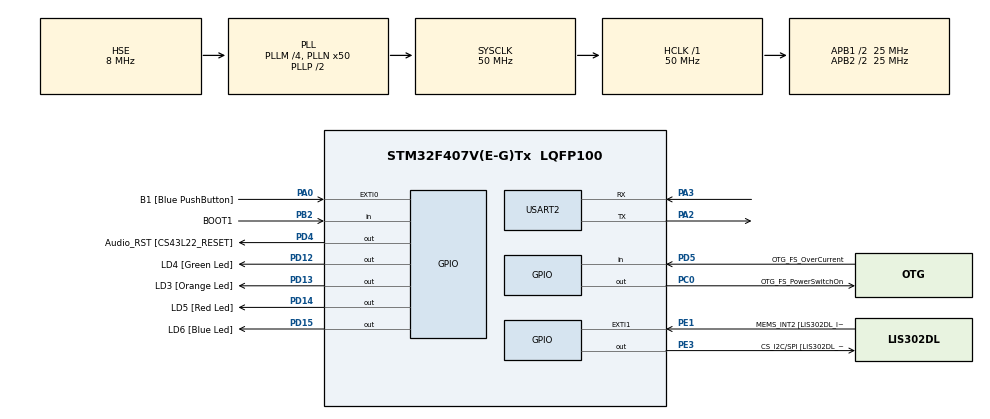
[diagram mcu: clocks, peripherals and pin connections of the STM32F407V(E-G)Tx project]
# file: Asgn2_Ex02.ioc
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Mcu.Family=STM32F4
Mcu.Name=STM32F407V(E-G)Tx
Mcu.Package=LQFP100
NVIC.EXTI0_IRQn=true\:0\:0\:false\:false\:true\:true\:true\:true
NVIC.PriorityGroup=NVIC_PRIORITYGROUP_0
PA0-WKUP.GPIO_Label=B1 [Blue PushButton]
PA0-WKUP.GPIO_ModeDefaultEXTI=GPIO_MODE_IT_RISING
PA0-WKUP.GPIO_PuPd=GPIO_NOPULL
PA0-WKUP.Signal=GPXTI0
PA10.GPIO_Label=OTG_FS_ID
PA10.GPIO_Mode=GPIO_MODE_AF_PP
PA10.GPIO_PuPd=GPIO_NOPULL
PA10.GPIO_Speed=GPIO_SPEED_FREQ_LOW
PA10.Signal=USB_OTG_FS_ID
PA11.GPIO_Label=OTG_FS_DM
PA11.GPIO_Mode=GPIO_MODE_AF_PP
PA11.GPIO_PuPd=GPIO_NOPULL
PA11.GPIO_Speed=GPIO_SPEED_FREQ_LOW
PA11.Signal=USB_OTG_FS_DM
PA12.GPIO_Label=OTG_FS_DP
PA12.GPIO_Mode=GPIO_MODE_AF_PP
PA12.GPIO_PuPd=GPIO_NOPULL
PA12.GPIO_Speed=GPIO_SPEED_FREQ_LOW
PA12.Signal=USB_OTG_FS_DP
PA13.GPIO_Label=SWDIO
PA13.Mode=Serial_Wire
PA13.Signal=SYS_JTMS-SWDIO
PA14.GPIO_Label=SWCLK
PA14.Mode=Serial_Wire
PA14.Signal=SYS_JTCK-SWCLK
PA2.Mode=Asynchronous
PA2.Signal=USART2_TX
PA3.Mode=Asynchronous
PA3.Signal=USART2_RX
PA4.GPIO_Label=I2S3_WS [CS43L22_LRCK]
PA4.GPIO_Mode=GPIO_MODE_AF_PP
PA4.GPIO_PuPd=GPIO_NOPULL
PA4.GPIO_Speed=GPIO_SPEED_FREQ_LOW
PA4.Signal=I2S3_WS
PA5.GPIO_Mode=GPIO_MODE_AF_PP
PA5.GPIO_PuPd=GPIO_NOPULL
PA5.GPIO_Speed=GPIO_SPEED_FREQ_VERY_HIGH
PA5.Signal=SPI1_SCK
PA6.GPIO_Mode=GPIO_MODE_AF_PP
PA6.GPIO_PuPd=GPIO_NOPULL
PA6.GPIO_Speed=GPIO_SPEED_FREQ_VERY_HIGH
PA6.Signal=SPI1_MISO
PA7.GPIO_Mode=GPIO_MODE_AF_PP
PA7.GPIO_PuPd=GPIO_NOPULL
PA7.GPIO_Speed=GPIO_SPEED_FREQ_VERY_HIGH
PA7.Signal=SPI1_MOSI
PA9.GPIO_Label=VBUS_FS
PA9.GPIO_Mode=GPIO_MODE_INPUT
PA9.GPIO_PuPd=GPIO_NOPULL
PA9.Signal=USB_OTG_FS_VBUS
PB10.GPIO_Label=CLK_IN [MP45DT02_CLK]
PB10.GPIO_Mode=GPIO_MODE_AF_PP
PB10.GPIO_PuPd=GPIO_NOPULL
PB10.GPIO_Speed=GPIO_SPEED_FREQ_LOW
PB10.Signal=I2S2_CK
PB2.GPIO_Label=BOOT1
PB2.GPIO_Mode=GPIO_MODE_INPUT
PB2.GPIO_PuPd=GPIO_NOPULL
PB2.Signal=GPIO_Input
PB3.GPIO_Label=SWO
PB3.Signal=SYS_JTDO-SWO
PB6.GPIO_Label=Audio_SCL [CS43L22_SCL]
PB6.GPIO_Mode=GPIO_MODE_AF_OD
PB6.GPIO_Pu=GPIO_PULLUP
PB6.GPIO_PuPd=GPIO_NOPULL
PB6.GPIO_Speed=GPIO_SPEED_FREQ_LOW
PB6.Signal=I2C1_SCL
PB9.GPIO_Label=Audio_SDA [CS43L22_SDA]
PB9.GPIO_Mode=GPIO_MODE_AF_OD
PB9.GPIO_Pu=GPIO_PULLUP
PB9.GPIO_PuPd=GPIO_NOPULL
PB9.GPIO_Speed=GPIO_SPEED_FREQ_LOW
PB9.Signal=I2C1_SDA
PC0.GPIO_Label=OTG_FS_PowerSwitchOn
PC0.GPIO_PuPd=GPIO_NOPULL
PC0.GPIO_Speed=GPIO_SPEED_FREQ_LOW
PC0.PinState=GPIO_PIN_SET
PC0.Signal=GPIO_Output
PC10.GPIO_Label=I2S3_SCK [CS43L22_SCLK]
PC10.GPIO_Mode=GPIO_MODE_AF_PP
PC10.GPIO_PuPd=GPIO_NOPULL
PC10.GPIO_Speed=GPIO_SPEED_FREQ_LOW
PC10.Signal=I2S3_CK
PC12.GPIO_Label=I2S3_SD [CS43L22_SDIN]
PC12.GPIO_Mode=GPIO_MODE_AF_PP
PC12.GPIO_PuPd=GPIO_NOPULL
PC12.GPIO_Speed=GPIO_SPEED_FREQ_LOW
PC12.Signal=I2S3_SD
PC14-OSC32_IN.GPIO_Label=PC14-OSC32_IN
PC14-OSC32_IN.Mode=LSE-External-Oscillator
PC14-OSC32_IN.Signal=RCC_OSC32_IN
PC15-OSC32_OUT.GPIO_Label=PC15-OSC32_OUT
PC15-OSC32_OUT.Mode=LSE-External-Oscillator
PC15-OSC32_OUT.Signal=RCC_OSC32_OUT
PC3.GPIO_Label=PDM_OUT [MP45DT02_DOUT]
PC3.GPIO_Mode=GPIO_MODE_AF_PP
PC3.GPIO_PuPd=GPIO_NOPULL
PC3.GPIO_Speed=GPIO_SPEED_FREQ_LOW
PC3.Signal=I2S2_SD
PC7.GPIO_Label=I2S3_MCK [CS43L22_MCLK]
PC7.GPIO_Mode=GPIO_MODE_AF_PP
PC7.GPIO_PuPd=GPIO_NOPULL
PC7.GPIO_Speed=GPIO_SPEED_FREQ_LOW
PC7.Signal=I2S3_MCK
PD12.GPIO_Label=LD4 [Green Led]
PD12.GPIO_PuPd=GPIO_NOPULL
PD12.GPIO_Speed=GPIO_SPEED_FREQ_LOW
PD12.Signal=GPIO_Output
PD13.GPIO_Label=LD3 [Orange Led]
PD13.GPIO_PuPd=GPIO_NOPULL
PD13.GPIO_Speed=GPIO_SPEED_FREQ_LOW
PD13.Signal=GPIO_Output
PD14.GPIO_Label=LD5 [Red Led]
PD14.GPIO_PuPd=GPIO_NOPULL
PD14.GPIO_Speed=GPIO_SPEED_FREQ_LOW
PD14.Signal=GPIO_Output
PD15.GPIO_Label=LD6 [Blue Led]
PD15.GPIO_PuPd=GPIO_NOPULL
PD15.GPIO_Speed=GPIO_SPEED_FREQ_LOW
PD15.Signal=GPIO_Output
PD4.GPIO_Label=Audio_RST [CS43L22_RESET]
PD4.GPIO_PuPd=GPIO_NOPULL
PD4.GPIO_Speed=GPIO_SPEED_FREQ_LOW
PD4.Signal=GPIO_Output
PD5.GPIO_Label=OTG_FS_OverCurrent
PD5.GPIO_Mode=GPIO_MODE_INPUT
PD5.GPIO_PuPd=GPIO_NOPULL
PD5.Signal=GPIO_Input
PE1.GPIO_Label=MEMS_INT2 [LIS302DL_INT2]
PE1.GPIO_ModeDefaultEXTI=GPIO_MODE_EVT_RISING
PE1.GPIO_PuPd=GPIO_NOPULL
PE1.Signal=GPXTI1
PE3.GPIO_Label=CS_I2C/SPI [LIS302DL_CS_I2C/SPI]
PE3.GPIO_PuPd=GPIO_NOPULL
PE3.GPIO_Speed=GPIO_SPEED_FREQ_LOW
PE3.Signal=GPIO_Output
PH0-OSC_IN.GPIO_Label=PH0-OSC_IN
PH0-OSC_IN.Mode=HSE-External-Oscillator
PH0-OSC_IN.Signal=RCC_OSC_IN
PH1-OSC_OUT.GPIO_Label=PH1-OSC_OUT
PH1-OSC_OUT.Mode=HSE-External-Oscillator
PH1-OSC_OUT.Signal=RCC_OSC_OUT
ProjectManager.HeapSize=0x200
ProjectManager.StackSize=0x400
ProjectManager.TargetToolchain=STM32CubeIDE
RCC.48MHZClocksFreq_Value=14285714.285714285
RCC.AHBFreq_Value=50000000
RCC.APB1CLKDivider=RCC_HCLK_DIV2
RCC.APB1Freq_Value=25000000
RCC.APB1TimFreq_Value=50000000
RCC.APB2CLKDivider=RCC_HCLK_DIV2
RCC.APB2Freq_Value=25000000
RCC.APB2TimFreq_Value=50000000
RCC.CortexFreq_Value=50000000
RCC.HCLKFreq_Value=50000000
RCC.HSE_VALUE=8000000
RCC.HSI_VALUE=16000000
RCC.PLLM=4
RCC.PLLN=50
RCC.PLLQ=7
RCC.PLLSourceVirtual=RCC_PLLSOURCE_HSE
RCC.SYSCLKFreq_VALUE=50000000
RCC.SYSCLKSource=RCC_SYSCLKSOURCE_PLLCLK
RCC.VCOOutputFreq_Value=100000000
TIM2.Period=12500
TIM2.Prescaler=999
TIM3.Period=5000
TIM3.Prescaler=999
TIM4.Period=20000
TIM4.Prescaler=999
TIM5.Period=3750
TIM5.Prescaler=1999
USART2.VirtualMode=VM_ASYNC
VP_TIM2_VS_ClockSourceINT.Mode=Internal
VP_TIM3_VS_ClockSourceINT.Mode=Internal
VP_TIM4_VS_ClockSourceINT.Mode=Internal
VP_TIM5_VS_ClockSourceINT.Mode=Internal
board=STM32F407G-DISC1

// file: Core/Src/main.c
/* USER CODE BEGIN Header */
/**
  ******************************************************************************
  * @file           : main.c
  * @brief          : Main program body
  ******************************************************************************
  * @attention
  *
  * Copyright (c) 2024 STMicroelectronics.
  * All rights reserved.
  *
  * This software is licensed under terms that can be found in the LICENSE file
  * in the root directory of this software component.
  * If no LICENSE file comes with this software, it is provided AS-IS.
  *
  ******************************************************************************
  */
/* USER CODE END Header */
#include "main.h"

/* USER CODE BEGIN PD */
#define PIN_RED LD5_Pin
#define PIN_GREEN LD4_Pin
#define PIN_ORANGE LD3_Pin
#define PIN_BLUE LD6_Pin

#define IDX_RED 0
#define IDX_GREEN 1
#define IDX_ORANGE 2
#define IDX_BLUE 3
/* USER CODE END PD */

TIM_HandleTypeDef htim2;
TIM_HandleTypeDef htim3;
TIM_HandleTypeDef htim4;
TIM_HandleTypeDef htim5;

UART_HandleTypeDef huart2;

/* USER CODE BEGIN PV */
int check_counter = 0;
int check_counter_limit = 1000;
int led_on[4];
/* USER CODE END PV */

void SystemClock_Config(void);
static void MX_GPIO_Init(void);
static void MX_USART2_UART_Init(void);
static void MX_TIM2_Init(void);
static void MX_TIM3_Init(void);
static void MX_TIM4_Init(void);
static void MX_TIM5_Init(void);

/* USER CODE BEGIN 0 */
/* sets pin */
void led_set(int color, int on) {
	if (on) {
		HAL_GPIO_WritePin(LD4_GPIO_Port, color, GPIO_PIN_SET);
	}
	else {
		HAL_GPIO_WritePin(LD4_GPIO_Port, color, GPIO_PIN_RESET);
	}
}

int __io_putchar(int ch) {
	uint8_t d = (uint8_t)ch;
	return HAL_UART_Transmit(&huart2, &d, 1, 500);
}

int _write(int file, char *ptr, int len)
{
  (void)file;
  int DataIdx;

  for (DataIdx = 0; DataIdx < len; DataIdx++)
  {
    __io_putchar(*ptr++);
  }
  return len;
}

void HAL_UART_TxCpltCallback (UART_HandleTypeDef * huart) {
//	if (++repeat == 2) {
//		HAL_UART_Receive_IT(huart, &rcvd_byte, 1);
//		repeat = 0;
//	}
//	else {
//		HAL_UART_Transmit_IT(huart, &rcvd_byte, 1);
//	}
	HAL_GPIO_WritePin(LD3_GPIO_Port, LD6_Pin, GPIO_PIN_SET);
}

void HAL_UART_RxCpltCallback (UART_HandleTypeDef * huart) {
//	HAL_GPIO_WritePin(LD3_GPIO_Port, LD6_Pin, GPIO_PIN_SET);
//	HAL_UART_Transmit_IT(huart, &rcvd_byte, 1);
}

void tim2_red_led_check(void) {
//	printf("RT2 t:%d h:%d\r\n", __HAL_TIM_GetCounter(&htim2), HAL_GetTick());
	if (led_on[IDX_RED]) {
		led_set(PIN_RED, 0);
		led_on[IDX_RED] = 0;
	}
	else {
		led_set(PIN_RED, 1);
		led_on[IDX_RED] = 1;
	}
}

void tim3_green_led_check(void) {
//	printf("GT3 t:%d h:%d\r\n", __HAL_TIM_GetCounter(&htim3), HAL_GetTick());
	if (led_on[IDX_GREEN]) {
		led_set(PIN_GREEN, 0);
		led_on[IDX_GREEN] = 0;
	}
	else {
		led_set(PIN_GREEN, 1);
		led_on[IDX_GREEN] = 1;
	}
}

void tim4_blue_led_check(void) {
//	printf("BT4 t:%d h:%d\r\n", __HAL_TIM_GetCounter(&htim4), HAL_GetTick());
	if (led_on[IDX_BLUE]) {
		led_set(PIN_BLUE, 0);
		led_on[IDX_BLUE] = 0;
	}
	else {
		led_set(PIN_BLUE, 1);
		led_on[IDX_BLUE] = 1;
	}
}

void tim5_orange_led_check(void) {
//	printf("OT5 t:%d h:%d\r\n", __HAL_TIM_GetCounter(&htim5), HAL_GetTick());
	if (led_on[IDX_ORANGE]) {
		led_set(PIN_ORANGE, 0);
		led_on[IDX_ORANGE] = 0;
	}
	else {
		led_set(PIN_ORANGE, 1);
		led_on[IDX_ORANGE] = 1;
	}
}

void led_check2(void) {
	if (check_counter == 0) {
		HAL_GPIO_WritePin(LD3_GPIO_Port, LD5_Pin, GPIO_PIN_SET);
	}
	else if (check_counter == 1000) {
		HAL_GPIO_WritePin(LD3_GPIO_Port, LD6_Pin, GPIO_PIN_SET);
	}
	else if (check_counter == 2000) {
		HAL_GPIO_WritePin(LD3_GPIO_Port, LD3_Pin, GPIO_PIN_SET);
	}
	else if (check_counter == 3000) {
		HAL_GPIO_WritePin(LD3_GPIO_Port, LD4_Pin, GPIO_PIN_SET);
	}
	check_counter++;
}

void TIM2_IRQHandler(void) {
	tim2_red_led_check();
	__HAL_TIM_CLEAR_FLAG(&htim2, TIM_FLAG_UPDATE);
}

void TIM3_IRQHandler(void) {
	tim3_green_led_check();
	__HAL_TIM_CLEAR_FLAG(&htim3, TIM_FLAG_UPDATE);
}

void TIM4_IRQHandler(void) {
	tim4_blue_led_check();
	__HAL_TIM_CLEAR_FLAG(&htim4, TIM_FLAG_UPDATE);
}

void TIM5_IRQHandler(void) {
	tim5_orange_led_check();
	__HAL_TIM_CLEAR_FLAG(&htim5, TIM_FLAG_UPDATE);
}
/* USER CODE END 0 */

int main(void)
{

  /* USER CODE BEGIN 1 */
  __HAL_RCC_TIM2_CLK_ENABLE();
  __HAL_RCC_TIM3_CLK_ENABLE();
  __HAL_RCC_TIM4_CLK_ENABLE();
  __HAL_RCC_TIM5_CLK_ENABLE();
  /* USER CODE END 1 */

  /* MCU Configuration--------------------------------------------------------*/

  /* Reset of all peripherals, Initializes the Flash interface and the Systick. */
  HAL_Init();

  /* USER CODE BEGIN Init */
  HAL_TIM_Base_Init(&htim2);
  HAL_TIM_Base_Init(&htim3);
  HAL_TIM_Base_Init(&htim4);
  HAL_TIM_Base_Init(&htim5);
  /* USER CODE END Init */

  /* Configure the system clock */
  SystemClock_Config();

  /* Initialize all configured peripherals */
  MX_GPIO_Init();
  MX_USART2_UART_Init();
  MX_TIM2_Init();
  MX_TIM3_Init();
  MX_TIM4_Init();
  MX_TIM5_Init();
  /* USER CODE BEGIN 2 */
  //red
  __HAL_TIM_ENABLE_IT(&htim2, TIM_IT_UPDATE);
  HAL_NVIC_EnableIRQ(TIM2_IRQn);
  HAL_NVIC_SetPriority(TIM2_IRQn, 14, 14);
  HAL_TIM_Base_Start(&htim2);
  //green
  __HAL_TIM_ENABLE_IT(&htim3, TIM_IT_UPDATE);
  HAL_NVIC_EnableIRQ(TIM3_IRQn);
  HAL_NVIC_SetPriority(TIM3_IRQn, 12, 12);
  HAL_TIM_Base_Start(&htim3);
  //blue
  __HAL_TIM_ENABLE_IT(&htim4, TIM_IT_UPDATE);
  HAL_NVIC_EnableIRQ(TIM4_IRQn);
  HAL_NVIC_SetPriority(TIM4_IRQn, 15, 15);
  HAL_TIM_Base_Start(&htim4);
  //orange
  __HAL_TIM_ENABLE_IT(&htim5, TIM_IT_UPDATE);
  HAL_NVIC_EnableIRQ(TIM5_IRQn);
  HAL_NVIC_SetPriority(TIM5_IRQn, 13, 13);
  HAL_TIM_Base_Start(&htim5);
  /* USER CODE END 2 */

  /* Infinite loop */
  /* USER CODE BEGIN WHILE */
//  printf("ccc\r\n");
  HAL_Delay(250);
  led_on[IDX_RED] = 0;
  led_on[IDX_GREEN] = 0;
  led_on[IDX_BLUE] = 0;
  led_on[IDX_ORANGE] = 0;
  while (1)
  {
    /* USER CODE END WHILE */

    /* USER CODE BEGIN 3 */
//	  printf("MAIN %d %d\r\n", __HAL_TIM_GetCounter(&htim2), HAL_GetTick());
	  HAL_Delay(500);
  }
  /* USER CODE END 3 */
}

void SystemClock_Config(void)
{
  RCC_OscInitTypeDef RCC_OscInitStruct = {0};
  RCC_ClkInitTypeDef RCC_ClkInitStruct = {0};

  /** Configure the main internal regulator output voltage
  */
  __HAL_RCC_PWR_CLK_ENABLE();
  __HAL_PWR_VOLTAGESCALING_CONFIG(PWR_REGULATOR_VOLTAGE_SCALE1);

  /** Initializes the RCC Oscillators according to the specified parameters
  * in the RCC_OscInitTypeDef structure.
  */
  RCC_OscInitStruct.OscillatorType = RCC_OSCILLATORTYPE_HSE;
  RCC_OscInitStruct.HSEState = RCC_HSE_ON;
  RCC_OscInitStruct.PLL.PLLState = RCC_PLL_ON;
  RCC_OscInitStruct.PLL.PLLSource = RCC_PLLSOURCE_HSE;
  RCC_OscInitStruct.PLL.PLLM = 4;
  RCC_OscInitStruct.PLL.PLLN = 50;
  RCC_OscInitStruct.PLL.PLLP = RCC_PLLP_DIV2;
  RCC_OscInitStruct.PLL.PLLQ = 7;
  if (HAL_RCC_OscConfig(&RCC_OscInitStruct) != HAL_OK)
  {
    Error_Handler();
  }

  /** Initializes the CPU, AHB and APB buses clocks
  */
  RCC_ClkInitStruct.ClockType = RCC_CLOCKTYPE_HCLK|RCC_CLOCKTYPE_SYSCLK
                              |RCC_CLOCKTYPE_PCLK1|RCC_CLOCKTYPE_PCLK2;
  RCC_ClkInitStruct.SYSCLKSource = RCC_SYSCLKSOURCE_PLLCLK;
  RCC_ClkInitStruct.AHBCLKDivider = RCC_SYSCLK_DIV1;
  RCC_ClkInitStruct.APB1CLKDivider = RCC_HCLK_DIV2;
  RCC_ClkInitStruct.APB2CLKDivider = RCC_HCLK_DIV2;

  if (HAL_RCC_ClockConfig(&RCC_ClkInitStruct, FLASH_LATENCY_1) != HAL_OK)
  {
    Error_Handler();
  }
}

static void MX_TIM2_Init(void)
{

  TIM_ClockConfigTypeDef sClockSourceConfig = {0};
  TIM_MasterConfigTypeDef sMasterConfig = {0};

  htim2.Instance = TIM2;
  htim2.Init.Prescaler = 999;
  htim2.Init.CounterMode = TIM_COUNTERMODE_UP;
  htim2.Init.Period = 12500;
  htim2.Init.ClockDivision = TIM_CLOCKDIVISION_DIV1;
  htim2.Init.AutoReloadPreload = TIM_AUTORELOAD_PRELOAD_DISABLE;
  if (HAL_TIM_Base_Init(&htim2) != HAL_OK)
  {
    Error_Handler();
  }
  sClockSourceConfig.ClockSource = TIM_CLOCKSOURCE_INTERNAL;
  if (HAL_TIM_ConfigClockSource(&htim2, &sClockSourceConfig) != HAL_OK)
  {
    Error_Handler();
  }
  sMasterConfig.MasterOutputTrigger = TIM_TRGO_RESET;
  sMasterConfig.MasterSlaveMode = TIM_MASTERSLAVEMODE_DISABLE;
  if (HAL_TIMEx_MasterConfigSynchronization(&htim2, &sMasterConfig) != HAL_OK)
  {
    Error_Handler();
  }

}

static void MX_TIM3_Init(void)
{

  TIM_ClockConfigTypeDef sClockSourceConfig = {0};
  TIM_MasterConfigTypeDef sMasterConfig = {0};

  htim3.Instance = TIM3;
  htim3.Init.Prescaler = 999;
  htim3.Init.CounterMode = TIM_COUNTERMODE_UP;
  htim3.Init.Period = 5000;
  htim3.Init.ClockDivision = TIM_CLOCKDIVISION_DIV1;
  htim3.Init.AutoReloadPreload = TIM_AUTORELOAD_PRELOAD_DISABLE;
  if (HAL_TIM_Base_Init(&htim3) != HAL_OK)
  {
    Error_Handler();
  }
  sClockSourceConfig.ClockSource = TIM_CLOCKSOURCE_INTERNAL;
  if (HAL_TIM_ConfigClockSource(&htim3, &sClockSourceConfig) != HAL_OK)
  {
    Error_Handler();
  }
  sMasterConfig.MasterOutputTrigger = TIM_TRGO_RESET;
  sMasterConfig.MasterSlaveMode = TIM_MASTERSLAVEMODE_DISABLE;
  if (HAL_TIMEx_MasterConfigSynchronization(&htim3, &sMasterConfig) != HAL_OK)
  {
    Error_Handler();
  }

}

static void MX_TIM4_Init(void)
{

  TIM_ClockConfigTypeDef sClockSourceConfig = {0};
  TIM_MasterConfigTypeDef sMasterConfig = {0};

  htim4.Instance = TIM4;
  htim4.Init.Prescaler = 999;
  htim4.Init.CounterMode = TIM_COUNTERMODE_UP;
  htim4.Init.Period = 20000;
  htim4.Init.ClockDivision = TIM_CLOCKDIVISION_DIV1;
  htim4.Init.AutoReloadPreload = TIM_AUTORELOAD_PRELOAD_DISABLE;
  if (HAL_TIM_Base_Init(&htim4) != HAL_OK)
  {
    Error_Handler();
  }
  sClockSourceConfig.ClockSource = TIM_CLOCKSOURCE_INTERNAL;
  if (HAL_TIM_ConfigClockSource(&htim4, &sClockSourceConfig) != HAL_OK)
  {
    Error_Handler();
  }
  sMasterConfig.MasterOutputTrigger = TIM_TRGO_RESET;
  sMasterConfig.MasterSlaveMode = TIM_MASTERSLAVEMODE_DISABLE;
  if (HAL_TIMEx_MasterConfigSynchronization(&htim4, &sMasterConfig) != HAL_OK)
  {
    Error_Handler();
  }

}

static void MX_TIM5_Init(void)
{

  TIM_ClockConfigTypeDef sClockSourceConfig = {0};
  TIM_MasterConfigTypeDef sMasterConfig = {0};

  htim5.Instance = TIM5;
  htim5.Init.Prescaler = 1999;
  htim5.Init.CounterMode = TIM_COUNTERMODE_UP;
  htim5.Init.Period = 3750;
  htim5.Init.ClockDivision = TIM_CLOCKDIVISION_DIV1;
  htim5.Init.AutoReloadPreload = TIM_AUTORELOAD_PRELOAD_DISABLE;
  if (HAL_TIM_Base_Init(&htim5) != HAL_OK)
  {
    Error_Handler();
  }
  sClockSourceConfig.ClockSource = TIM_CLOCKSOURCE_INTERNAL;
  if (HAL_TIM_ConfigClockSource(&htim5, &sClockSourceConfig) != HAL_OK)
  {
    Error_Handler();
  }
  sMasterConfig.MasterOutputTrigger = TIM_TRGO_RESET;
  sMasterConfig.MasterSlaveMode = TIM_MASTERSLAVEMODE_DISABLE;
  if (HAL_TIMEx_MasterConfigSynchronization(&htim5, &sMasterConfig) != HAL_OK)
  {
    Error_Handler();
  }

}

static void MX_USART2_UART_Init(void)
{

  huart2.Instance = USART2;
  huart2.Init.BaudRate = 115200;
  huart2.Init.WordLength = UART_WORDLENGTH_8B;
  huart2.Init.StopBits = UART_STOPBITS_1;
  huart2.Init.Parity = UART_PARITY_NONE;
  huart2.Init.Mode = UART_MODE_TX_RX;
  huart2.Init.HwFlowCtl = UART_HWCONTROL_NONE;
  huart2.Init.OverSampling = UART_OVERSAMPLING_16;
  if (HAL_UART_Init(&huart2) != HAL_OK)
  {
    Error_Handler();
  }

}

static void MX_GPIO_Init(void)
{
  GPIO_InitTypeDef GPIO_InitStruct = {0};

  /* GPIO Ports Clock Enable */
  __HAL_RCC_GPIOE_CLK_ENABLE();
  __HAL_RCC_GPIOC_CLK_ENABLE();
  __HAL_RCC_GPIOH_CLK_ENABLE();
  __HAL_RCC_GPIOA_CLK_ENABLE();
  __HAL_RCC_GPIOB_CLK_ENABLE();
  __HAL_RCC_GPIOD_CLK_ENABLE();

  /*Configure GPIO pin Output Level */
  HAL_GPIO_WritePin(CS_I2C_SPI_GPIO_Port, CS_I2C_SPI_Pin, GPIO_PIN_RESET);

  /*Configure GPIO pin Output Level */
  HAL_GPIO_WritePin(OTG_FS_PowerSwitchOn_GPIO_Port, OTG_FS_PowerSwitchOn_Pin, GPIO_PIN_SET);

  /*Configure GPIO pin Output Level */
  HAL_GPIO_WritePin(GPIOD, LD4_Pin|LD3_Pin|LD5_Pin|LD6_Pin
                          |Audio_RST_Pin, GPIO_PIN_RESET);

  /*Configure GPIO pin : CS_I2C_SPI_Pin */
  GPIO_InitStruct.Pin = CS_I2C_SPI_Pin;
  GPIO_InitStruct.Mode = GPIO_MODE_OUTPUT_PP;
  GPIO_InitStruct.Pull = GPIO_NOPULL;
  GPIO_InitStruct.Speed = GPIO_SPEED_FREQ_LOW;
  HAL_GPIO_Init(CS_I2C_SPI_GPIO_Port, &GPIO_InitStruct);

  /*Configure GPIO pin : OTG_FS_PowerSwitchOn_Pin */
  GPIO_InitStruct.Pin = OTG_FS_PowerSwitchOn_Pin;
  GPIO_InitStruct.Mode = GPIO_MODE_OUTPUT_PP;
  GPIO_InitStruct.Pull = GPIO_NOPULL;
  GPIO_InitStruct.Speed = GPIO_SPEED_FREQ_LOW;
  HAL_GPIO_Init(OTG_FS_PowerSwitchOn_GPIO_Port, &GPIO_InitStruct);

  /*Configure GPIO pin : PDM_OUT_Pin */
  GPIO_InitStruct.Pin = PDM_OUT_Pin;
  GPIO_InitStruct.Mode = GPIO_MODE_AF_PP;
  GPIO_InitStruct.Pull = GPIO_NOPULL;
  GPIO_InitStruct.Speed = GPIO_SPEED_FREQ_LOW;
  GPIO_InitStruct.Alternate = GPIO_AF5_SPI2;
  HAL_GPIO_Init(PDM_OUT_GPIO_Port, &GPIO_InitStruct);

  /*Configure GPIO pin : B1_Pin */
  GPIO_InitStruct.Pin = B1_Pin;
  GPIO_InitStruct.Mode = GPIO_MODE_IT_RISING;
  GPIO_InitStruct.Pull = GPIO_NOPULL;
  HAL_GPIO_Init(B1_GPIO_Port, &GPIO_InitStruct);

  /*Configure GPIO pin : I2S3_WS_Pin */
  GPIO_InitStruct.Pin = I2S3_WS_Pin;
  GPIO_InitStruct.Mode = GPIO_MODE_AF_PP;
  GPIO_InitStruct.Pull = GPIO_NOPULL;
  GPIO_InitStruct.Speed = GPIO_SPEED_FREQ_LOW;
  GPIO_InitStruct.Alternate = GPIO_AF6_SPI3;
  HAL_GPIO_Init(I2S3_WS_GPIO_Port, &GPIO_InitStruct);

  /*Configure GPIO pins : PA5 PA6 PA7 */
  GPIO_InitStruct.Pin = GPIO_PIN_5|GPIO_PIN_6|GPIO_PIN_7;
  GPIO_InitStruct.Mode = GPIO_MODE_AF_PP;
  GPIO_InitStruct.Pull = GPIO_NOPULL;
  GPIO_InitStruct.Speed = GPIO_SPEED_FREQ_VERY_HIGH;
  GPIO_InitStruct.Alternate = GPIO_AF5_SPI1;
  HAL_GPIO_Init(GPIOA, &GPIO_InitStruct);

  /*Configure GPIO pin : BOOT1_Pin */
  GPIO_InitStruct.Pin = BOOT1_Pin;
  GPIO_InitStruct.Mode = GPIO_MODE_INPUT;
  GPIO_InitStruct.Pull = GPIO_NOPULL;
  HAL_GPIO_Init(BOOT1_GPIO_Port, &GPIO_InitStruct);

  /*Configure GPIO pin : CLK_IN_Pin */
  GPIO_InitStruct.Pin = CLK_IN_Pin;
  GPIO_InitStruct.Mode = GPIO_MODE_AF_PP;
  GPIO_InitStruct.Pull = GPIO_NOPULL;
  GPIO_InitStruct.Speed = GPIO_SPEED_FREQ_LOW;
  GPIO_InitStruct.Alternate = GPIO_AF5_SPI2;
  HAL_GPIO_Init(CLK_IN_GPIO_Port, &GPIO_InitStruct);

  /*Configure GPIO pins : LD4_Pin LD3_Pin LD5_Pin LD6_Pin
                           Audio_RST_Pin */
  GPIO_InitStruct.Pin = LD4_Pin|LD3_Pin|LD5_Pin|LD6_Pin
                          |Audio_RST_Pin;
  GPIO_InitStruct.Mode = GPIO_MODE_OUTPUT_PP;
  GPIO_InitStruct.Pull = GPIO_NOPULL;
  GPIO_InitStruct.Speed = GPIO_SPEED_FREQ_LOW;
  HAL_GPIO_Init(GPIOD, &GPIO_InitStruct);

  /*Configure GPIO pins : I2S3_MCK_Pin I2S3_SCK_Pin I2S3_SD_Pin */
  GPIO_InitStruct.Pin = I2S3_MCK_Pin|I2S3_SCK_Pin|I2S3_SD_Pin;
  GPIO_InitStruct.Mode = GPIO_MODE_AF_PP;
  GPIO_InitStruct.Pull = GPIO_NOPULL;
  GPIO_InitStruct.Speed = GPIO_SPEED_FREQ_LOW;
  GPIO_InitStruct.Alternate = GPIO_AF6_SPI3;
  HAL_GPIO_Init(GPIOC, &GPIO_InitStruct);

  /*Configure GPIO pin : VBUS_FS_Pin */
  GPIO_InitStruct.Pin = VBUS_FS_Pin;
  GPIO_InitStruct.Mode = GPIO_MODE_INPUT;
  GPIO_InitStruct.Pull = GPIO_NOPULL;
  HAL_GPIO_Init(VBUS_FS_GPIO_Port, &GPIO_InitStruct);

  /*Configure GPIO pins : OTG_FS_ID_Pin OTG_FS_DM_Pin OTG_FS_DP_Pin */
  GPIO_InitStruct.Pin = OTG_FS_ID_Pin|OTG_FS_DM_Pin|OTG_FS_DP_Pin;
  GPIO_InitStruct.Mode = GPIO_MODE_AF_PP;
  GPIO_InitStruct.Pull = GPIO_NOPULL;
  GPIO_InitStruct.Speed = GPIO_SPEED_FREQ_LOW;
  GPIO_InitStruct.Alternate = GPIO_AF10_OTG_FS;
  HAL_GPIO_Init(GPIOA, &GPIO_InitStruct);

  /*Configure GPIO pin : OTG_FS_OverCurrent_Pin */
  GPIO_InitStruct.Pin = OTG_FS_OverCurrent_Pin;
  GPIO_InitStruct.Mode = GPIO_MODE_INPUT;
  GPIO_InitStruct.Pull = GPIO_NOPULL;
  HAL_GPIO_Init(OTG_FS_OverCurrent_GPIO_Port, &GPIO_InitStruct);

  /*Configure GPIO pins : Audio_SCL_Pin Audio_SDA_Pin */
  GPIO_InitStruct.Pin = Audio_SCL_Pin|Audio_SDA_Pin;
  GPIO_InitStruct.Mode = GPIO_MODE_AF_OD;
  GPIO_InitStruct.Pull = GPIO_PULLUP;
  GPIO_InitStruct.Speed = GPIO_SPEED_FREQ_LOW;
  GPIO_InitStruct.Alternate = GPIO_AF4_I2C1;
  HAL_GPIO_Init(GPIOB, &GPIO_InitStruct);

  /*Configure GPIO pin : MEMS_INT2_Pin */
  GPIO_InitStruct.Pin = MEMS_INT2_Pin;
  GPIO_InitStruct.Mode = GPIO_MODE_EVT_RISING;
  GPIO_InitStruct.Pull = GPIO_NOPULL;
  HAL_GPIO_Init(MEMS_INT2_GPIO_Port, &GPIO_InitStruct);

  /* EXTI interrupt init*/
  HAL_NVIC_SetPriority(EXTI0_IRQn, 0, 0);
  HAL_NVIC_EnableIRQ(EXTI0_IRQn);

}

void Error_Handler(void)
{
  __disable_irq();
  while (1)
  {
  }
}
